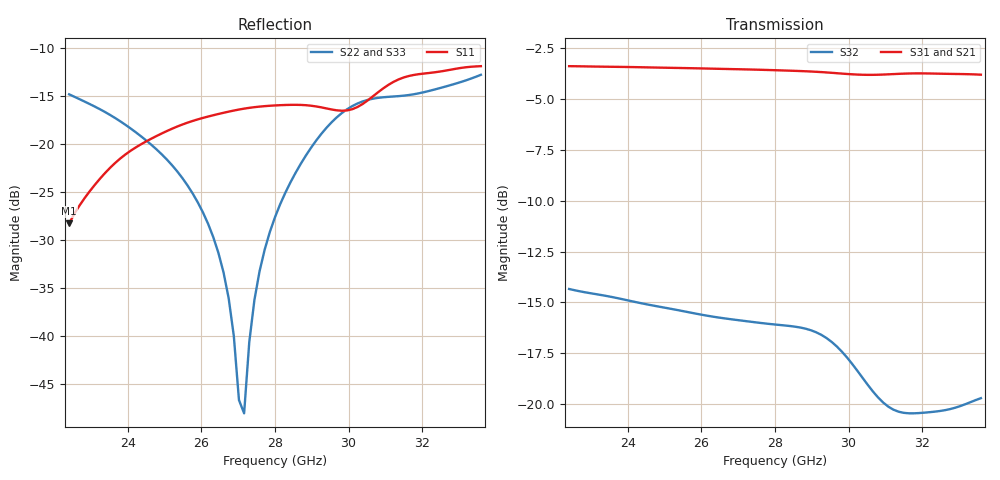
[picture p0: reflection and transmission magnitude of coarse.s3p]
! yapnr rf: pdw07630-comparable-jlc-ro4350b-20mil, binary design on the optimization grid
! spec sha256 000205ff367ace65128e300cc27302d069d01699ca2f427aa1b1c68da5d957eb
! renormalized to 50 ohm, e^(+jwt) convention
# GHz S RI R 50
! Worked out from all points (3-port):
!   81 points, 22.4 GHz to 33.6 GHz, reference 50 ohm
!   strongest paths, dB at 22.4 GHz, 25.2 GHz, 28 GHz, 30.8 GHz, 33.6 GHz:
!     S31: -3.4, -3.5, -3.6, -3.8, -3.8
!     S21: -3.4, -3.5, -3.6, -3.8, -3.8
!     S32: -14.3, -15.3, -16.1, -19.7, -19.7
!   lowest |S11| = -28.2 dB at 22.4 GHz (marker M1), VSWR 1.08, Z = 47.3 + j2.65 ohm
!   |S11| at or under -10 dB: start of sweep to end of sweep
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22.4  -0.0268 0.0279  0.5051 0.4579  0.5051 0.4579
      0.5021 0.4552  0.1678 0.0709  -0.1893 -0.0307
      0.5021 0.4552  -0.1893 -0.0307  0.1678 0.0709
23.8  -0.0233 0.0813  0.6342 0.2415  0.6342 0.2415
      0.6307 0.2404  0.1314 -0.000457  -0.1605 0.0846
      0.6307 0.2404  -0.1605 0.0846  0.1314 -0.000457
25.9  0.0349 0.1303  0.6599 -0.131  0.6599 -0.131
      0.6567 -0.1298  0.0387 -0.0314  -0.00862 0.1662
      0.6567 -0.1298  -0.00862 0.1662  0.0387 -0.0314
26.6  0.0597 0.1332  0.6219 -0.2507  0.6219 -0.2507
      0.6191 -0.2489  0.0119 -0.0179  0.0507 0.1544
      0.6191 -0.2489  0.0507 0.1544  0.0119 -0.0179
27.02  0.0748 0.132  0.5886 -0.3183  0.5886 -0.3183
       0.5861 -0.3162  -0.000566 -0.00462  0.0838 0.1371
       0.5861 -0.3162  0.0838 0.1371  -0.000566 -0.00462
27.16  0.0798 0.131  0.5758 -0.34  0.5758 -0.34
       0.5734 -0.3378  -0.00391 0.000699  0.094 0.1295
       0.5734 -0.3378  0.094 0.1295  -0.00391 0.000699
27.44  0.0894 0.1279  0.5478 -0.3819  0.5478 -0.3819
       0.5456 -0.3795  -0.00901 0.0126  0.1127 0.112
       0.5456 -0.3795  0.1127 0.112  -0.00901 0.0126
28  0.1061 0.1189  0.4822 -0.4586  0.4822 -0.4586
    0.4806 -0.4559  -0.0115 0.0401  0.1414 0.0679
    0.4806 -0.4559  0.1414 0.0679  -0.0115 0.0401
29.96  0.1217 0.0879  0.1805 -0.6252  0.1805 -0.6252
       0.1808 -0.6227  0.11 0.1052  0.0804 -0.1022
       0.1808 -0.6227  0.0804 -0.1022  0.11 0.1052
33.6  0.2535 -0.0294  -0.4283 -0.4869  -0.4283 -0.4869
      -0.4265 -0.4849  0.1306 -0.1895  -0.0977 -0.0337
      -0.4265 -0.4849  -0.0977 -0.0337  0.1306 -0.1895
